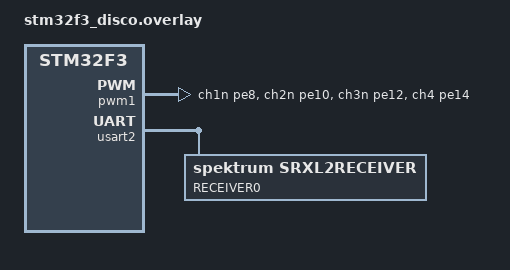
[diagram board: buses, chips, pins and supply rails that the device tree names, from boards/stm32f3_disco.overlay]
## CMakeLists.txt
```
# Find Zephyr. This also loads Zephyr's build system.
cmake_minimum_required(VERSION 3.20)

find_package(Zephyr REQUIRED HINTS $ENV{ZEPHYR_BASE})

project(attitude_estimation)


target_sources(app PRIVATE 
    src/main.cpp
    src/zephly_sensors.c
    src/zephly_sensors_config.c
)

# disable exceptions
# to mitigate problems with static variable initialization guards
# call __cxa_guard_acquire and __cxa_guard_release
# see https://github.com/bblanchon/ArduinoJson/issues/356
# not thread safe anymore :(
target_compile_options(app BEFORE PUBLIC $<$<COMPILE_LANGUAGE:CXX>:-fno-threadsafe-statics>)

set_property(TARGET app PROPERTY CXX_STANDARD 17)
```

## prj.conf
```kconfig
CONFIG_ZEPHLY_APP=y

CONFIG_SERIAL=y
CONFIG_UART_INTERRUPT_DRIVEN=y

CONFIG_SENSOR=y

CONFIG_SPI=y
CONFIG_MPU6000_DRIVER=y
CONFIG_MPU6000_AFS_SEL=1
CONFIG_MPU6000_FS_SEL=0

CONFIG_ZEPHLY_RC_COMMON=y
CONFIG_ZEPHLY_SRXL2_RC_DRIVER=y

CONFIG_ZEPHLY_MIXER_LIB=y
CONFIG_ZEPHLY_CONTROL_LIB=y

CONFIG_LIB_CPLUSPLUS=y
CONFIG_NEWLIB_LIBC=y
CONFIG_NEWLIB_LIBC_FLOAT_PRINTF=y

CONFIG_PWM=y
CONFIG_CONTROL_OUTPUT_PWM=y
CONFIG_CONTROL_OUTPUT_PWM_MIN_DUTY=823

CONFIG_SHELL=y
```

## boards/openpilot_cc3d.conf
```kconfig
CONFIG_ZEPHLY_GYRO_ORIENTATION=1
```

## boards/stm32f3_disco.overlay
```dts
/ {
    aliases {
        rc-uart = &usart2;
    };
};

&pwm1 {
    pinctrl-0 = <&tim1_ch1n_pe8 &tim1_ch2n_pe10 &tim1_ch3n_pe12 &tim1_ch4_pe14>;
};

&usart2 {
    single-wire;
	rc: srxl2 {
		compatible = "spektrum,srxl2receiver";
		label = "RECEIVER0";
		status = "okay";
	};
};
```

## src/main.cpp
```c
/*
 * Copyright (c) 2022 Jonathan Hahn
 *
 * SPDX-License-Identifier: Apache-2.0
 */

#include <zephyr.h>
#include "kernel.h"
#include <device.h>
#include <devicetree.h>
#include <drivers/sensor.h>
#include <custom_drivers/rc.h>
#include <custom_drivers/control_output.h>
#include <mixer/mixer.hpp>
#include <ratecontrol.h>
#include <stdio.h>

#include "zephly_sensors.h"

#define RC_IN DT_NODELABEL(rc)
#define CONTROL_OUTPUT_NODE DT_NODELABEL(pwmout)

const struct device *rc = DEVICE_DT_GET(RC_IN);
const struct device *control_out = DEVICE_DT_GET(CONTROL_OUTPUT_NODE);

/* initial pwm values */
static float outputs[] = {0.0f, 0.0f, 0.0f, 0.0f};

/* storage for rc inputs */
static struct Command rc_val = {};

static float measurements[3];

static struct RateControl ratecontrols[3];

static void configure_ratecontrol(struct RateControl *ratecontrols);
inline struct Command calculate_setpoint(const struct Command &rc_cmd);
inline struct Command run_ratecontrol(struct RateControl *ratecontrol, const struct Command &setpoints, const float *measruements);

int main() {

	printk("Starting initialization.\n");

	ratecontrol_init(&ratecontrols[0], "pitch");
	ratecontrol_init(&ratecontrols[1], "roll");
	ratecontrol_init(&ratecontrols[2], "yaw");

	configure_ratecontrol(ratecontrols);

	if (!device_is_ready(rc)) {
		printk("RC IN device not ready.");
		return -EIO;
	}

	if (!device_is_ready(control_out)) {
		printk("Control Output not ready.");
		return -EIO;
	}

	/*int ret = zephly_sensors_init();
	if (ret != 0) {
		printk("Sensor initialization failed, error code: %d.", ret);
		return ret;
	}*/

	printk("Initialization complete.\nRunning!\n");

	while (true) {
		/* update rc */
		rc_update(rc, &rc_val);

		/* get new sensor measurements */
		//zephly_sensors_get_gyro(measurements);

		/* get setpoint from rc_val */
		const auto setpoint = calculate_setpoint(rc_val);
		//const auto commands = run_ratecontrol(ratecontrols, setpoint, measurements);

		printk("%d\n", (int)(setpoint.thrust * 1000));
		
		/* run mixer */
		px_airmode_mix(setpoint, outputs);

		/* TODO: add anti wind-up measures */
		
		/* write outputs */
		if(rc_val.armed) {
			control_output_set(control_out, outputs);
		} else {
			control_output_disable_motors(control_out);
		}

		k_sleep(K_MSEC(10));
	}

	return 0;
}

static void configure_ratecontrol(struct RateControl *ratecontrols) {
	for (int i=0; i<3; i++) {
		ratecontrols[i].k_p = 1.0f;
		ratecontrols[i].k_i = 0.0f;
		ratecontrols[i].k_d = 0.0f;
	}
}

inline struct Command calculate_setpoint(const struct Command &rc_cmd) {
	static constexpr float MAX_RATE = 1.0f;

	struct Command setpoint;
	setpoint.pitch  = rc_cmd.pitch * MAX_RATE;
	setpoint.roll 	= rc_cmd.roll * MAX_RATE;
	setpoint.yaw	= rc_cmd.yaw * MAX_RATE;
	setpoint.thrust	= rc_cmd.thrust;

	return setpoint;
}

inline struct Command run_ratecontrol(struct RateControl *ratecontrols, const struct Command &setpoints, const float *measruements) {
	struct Command cmd;
	cmd.pitch 	= ratecontrol_update(&ratecontrols[0], setpoints.pitch, measurements[0]);
	cmd.roll	= ratecontrol_update(&ratecontrols[1], setpoints.roll, measurements[1]);
	cmd.yaw 	= ratecontrol_update(&ratecontrols[2], setpoints.yaw, measurements[2]);
	cmd.thrust	= setpoints.thrust;

	return cmd;
}
```

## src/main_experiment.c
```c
#include <zephyr.h>
#include "kernel.h"
#include <device.h>
#include <stdio.h>
#include <devicetree.h>
#include <drivers/pwm.h>
#include <drivers/gpio.h>
#include <drivers/spi.h>

#define PWM_DEVICE1 DT_NODELABEL(pwm1)
#define PWM_DEVICE2 DT_NODELABEL(pwm2)

#define LED_NODE DT_ALIAS(userled0)
#define LED_GPIO DT_PHANDLE(LED_NODE, gpios)
#define LED_PIN	DT_GPIO_PIN(LED_NODE, gpios)

#define SPI1 DT_NODELABEL(spi1)
#define CS_GPIO DT_NODELABEL(gpioa)

const struct device* led = DEVICE_DT_GET(LED_GPIO);

const struct device* pwm_dev1 = DEVICE_DT_GET(PWM_DEVICE1);
const struct device* pwm_dev2 = DEVICE_DT_GET(PWM_DEVICE2);

const struct device * spi1 = DEVICE_DT_GET(SPI1);

const struct spi_cs_control cs_ctrl = 
{
	.gpio_dev = DEVICE_DT_GET(CS_GPIO),
	.delay = 0,
	.gpio_pin = 4,
	.gpio_dt_flags = GPIO_ACTIVE_LOW
};
const struct spi_config spi1_config = {
	.frequency = 562500,
	.operation =SPI_OP_MODE_MASTER | SPI_WORD_SET(8) | SPI_TRANSFER_MSB,
	.cs = &cs_ctrl,
};

int read_wai() {
	int err;
	uint8_t tx_bytes = 0x75;
	uint8_t data;
	const struct spi_buf tx_buf = {
		.buf = &tx_bytes,
		.len = 1,
	};
	const struct spi_buf_set tx = {
		.buffers = &tx_buf,
		.count = 1,
	};

	const struct spi_buf rx_bufs[] = {
		{
			.buf = NULL,
			.len = 1,
		},
		{
			.buf = &data,
			.len = 1,
		}
	};
	const struct spi_buf_set rx = {
		.buffers = rx_bufs,
		.count = 2,
	};

	err = spi_transceive(spi1, &spi1_config, &tx, &rx);

	if ( err < 0 ) {
		return err;
	} else {
		return data;
	}
}

void main() {
	
	int ret, wai;
	bool led_is_on = true;

	if (!device_is_ready(led)) {
		printk("LED is not ready!");
		return;
	}

	if (!device_is_ready(spi1)) {
		printk("spi1 is not ready!");
		return;
	}

	ret = read_wai();

	if (ret < 0) {
		printk("wai invalid!");
		return;
	} else {
		wai = ret;
		printk("wai is %d", wai);
	}


	ret = gpio_pin_configure(led, LED_PIN, GPIO_OUTPUT_ACTIVE | GPIO_ACTIVE_HIGH);
	if (ret < 0) {
		return;
	}

	if (!device_is_ready(pwm_dev1) || !device_is_ready(pwm_dev2)) {
		printk("PWM is not ready!");
		return;
	}

	while (true) {
		printk("Hallo %d %d \t", ret, LED_PIN);
		ret = gpio_pin_set(led, LED_PIN, (int)led_is_on );
		led_is_on = !led_is_on;
		
		if (led_is_on) {
			ret = pwm_pin_set_usec(pwm_dev1, 4, 20000, 2000, 0);
			pwm_pin_set_usec(pwm_dev1, 3, 20000, 2000, 0);
			pwm_pin_set_usec(pwm_dev1, 2, 20000, 2000, 0);
			pwm_pin_set_usec(pwm_dev2, 1, 20000, 2000, 0);
		} else {
			ret = pwm_pin_set_usec(pwm_dev1, 4, 20000, 1000, 0);
			pwm_pin_set_usec(pwm_dev1, 3, 20000, 1000, 0);
			pwm_pin_set_usec(pwm_dev1, 2, 20000, 1000, 0);
			pwm_pin_set_usec(pwm_dev2, 1, 20000, 1000, 0);
		}
		printk("%d\n", ret);

		k_sleep(K_MSEC(1500));
	}
}
```

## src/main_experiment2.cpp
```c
#include <zephyr.h>
#include "irq.h"
#include "kernel.h"
#include <device.h>
#include <stdio.h>
#include <devicetree.h>
#include <drivers/pwm.h>
#include <drivers/gpio.h>
#include <drivers/uart.h>
#include <irq.h>

#include "rc/rc.hpp"

struct RCInput rc_input;

void main() {

    if (rc_init() < 0){
        printk("USART is not ready!");
        return;
    }

    while (true) {
        int ret = rc_update(5);
        rc_input = rc_get();
        
        printk("%d\t%d\t%d\t%d\n", rc_input.roll, rc_input.pitch, rc_input.throttle, rc_input.yaw);
        if(ret<0) {
            printk("ERROR %d\n", ret);
        }
        k_sleep(K_MSEC(5));
    }
}
```

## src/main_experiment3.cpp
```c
#include <zephyr.h>
#include "irq.h"
#include "kernel.h"
#include <device.h>
#include <stdio.h>
#include <devicetree.h>

void test_work_handler(k_work *work) {
    printk("Test so und so\n");
}

K_WORK_DEFINE(test_work, test_work_handler);

void test_timer_handler(k_timer *dummy) {
    k_work_submit(&test_work);
}

K_TIMER_DEFINE(test_timer, test_timer_handler, NULL);

void main() {

    k_timer_start(&test_timer, K_MSEC(5), K_MSEC(5));

    while (true) {
        
        printk("noch da!\n");

        k_sleep(K_MSEC(1000));
    }
}
```

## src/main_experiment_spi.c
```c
#include <zephyr.h>
#include "irq.h"
#include "kernel.h"
#include "sys/util.h"
#include <device.h>
#include <stdio.h>
#include <devicetree.h>
#include <drivers/spi.h>

#define WHO_AM_I_REG 0x75

#define LED_NODE DT_ALIAS(userled0)
#define LED_GPIO DT_PHANDLE(LED_NODE, gpios)
#define PIN	DT_GPIO_PIN(LED_NODE, gpios)

#define SPI1 DT_NODELABEL(spi1)
#define SPI1_CS DT_NODELABEL(gpioa)
#define MPU6000 DT_NODELABEL(imu)
#define SPI1_CS_PIN 4

const struct device *led = DEVICE_DT_GET(LED_GPIO);
//const struct device *spi1 = DEVICE_DT_GET(DT_BUS(MPU6000));

//struct spi_config spi_cfg = SPI_CONFIG_DT(MPU6000, SPI_OP_MODE_MASTER | SPI_WORD_SET(8), 0);

//int request_wai(const struct device* spi1);

const struct device *imu = DEVICE_DT_GET(MPU6000);

void main() {

    bool led_is_on = true;

    if (!device_is_ready(led)) {
        printk("LED is not ready!");
        return;
    }

    int ret = gpio_pin_configure(led, 3, GPIO_OUTPUT_HIGH | GPIO_ACTIVE_HIGH);
    if (ret < 0) {
        return;
    }

    if (!device_is_ready(imu)) {
        printk("MPU6000 is not ready!");
        return;
    }

    while (true) {
        printk("Noch da :)\n");

        ret = gpio_pin_set(led, PIN, (int)led_is_on );
        led_is_on = !led_is_on;

        //ret = request_wai(spi1);

        if (ret != 0) {
            printk("Probleme probleme probleme.. (%d)\n", ret);
            ret = 0;
        }
        
        k_sleep(K_MSEC(1000));
    }
}

/*int request_wai(const struct device* spi1) {

    uint8_t buffer_tx[] = {0xF5, 0x00};
    uint8_t buffer_rx[2] = {};

    struct spi_buf tx_bufs;
    tx_bufs.buf = buffer_tx;
    tx_bufs.len = 2;
    const struct spi_buf_set tx = {
		.buffers = &tx_bufs,
		.count = 1
	};

    struct spi_buf rx_bufs;
    rx_bufs.buf = buffer_rx;
    rx_bufs.len = 2;
    const struct spi_buf_set rx = {
        .buffers = &rx_bufs,
        .count = 1
    };

    int ret = spi_transceive(spi1, &spi_cfg, &tx, &rx);

    if (ret == 0) {
        printk("WAI: %d\n", buffer_rx[1]);
    }

    return ret;
}
*/
```

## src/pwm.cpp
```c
#include "pwm.hpp"
#include <zephyr.h>
#include <drivers/pwm.h>
#include <devicetree.h>

#define NODE_OKAY(node) DT_NODE_HAS_STATUS(DT_NODELABEL(node), okay)
#define GET_PWM(node) DEVICE_DT_GET(DT_NODELABEL(node))
#define GET_PWM_NUM_PINS(node) 0

PWM::PWM() {
    _pwm_devs[0] = GET_PWM(pwm1);
    _pwm_devs[1] = GET_PWM(pwm2);
};

bool PWM::is_ready() const {
    return device_is_ready(_pwm_devs[0]) && device_is_ready(_pwm_devs[1]);
}

uint32_t PWM::_get_pulse(float setpoint) const {
    return _min_duty + static_cast<uint32_t>( (_max_duty - _min_duty) * setpoint);
}

void PWM::write(const float (&outputs)[4]) {
    if (!is_ready()) {
        return;
    }

    pwm_pin_set_usec(_pwm_devs[0], 4, _period, _get_pulse(outputs[0]), 0);
    pwm_pin_set_usec(_pwm_devs[0], 3, _period, _get_pulse(outputs[1]), 0);
    pwm_pin_set_usec(_pwm_devs[0], 2, _period, _get_pulse(outputs[2]), 0);
    pwm_pin_set_usec(_pwm_devs[1], 1, _period, _get_pulse(outputs[3]), 0);

#ifdef CONFIG_BOARD_STM32F3_DISCO
    // Put correct configuration into stm32f303 register..
    volatile int * volatile reg = (volatile int*)0x40012C20;
    *reg = 0x1444;
#endif
}

void PWM::stop_motors() {
    static constexpr float zeros[] = {0.0f, 0.0f, 0.0f, 0.0f};

    write(zeros);
}
```

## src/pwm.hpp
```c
#include <device.h>


class PWM {

    static constexpr uint32_t _period = 20000; // 50 Hz update rate
    static constexpr uint32_t _min_duty = 1000; // 1ms minimal duty cycle
    static constexpr uint32_t _max_duty = 2000; // 2ms maximal duty cycle

public:
    PWM(PWM const&)		        = delete;
	void operator=(PWM const&)  = delete;

    static PWM& init() {
        static PWM pwm;

        return pwm;
    }

    bool is_ready() const;

    uint32_t _get_pulse(float setpoint) const;
    
    void write(const float (&outputs)[4]);

    void stop_motors();

    void print();

private:
    PWM();

    const struct device* _pwm_devs[4];
    uint8_t _pwm_num_of_pins[4];

};
```

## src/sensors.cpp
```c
#include "sensors.hpp"
#include <drivers/sensor.h>

using namespace AttitudeEstimation;

#define GYRO_DEV DT_NODELABEL(gyro0)
#define MAG_DEV DT_NODELABEL(mag0)
#define ACC_DEV DT_NODELABEL(acc0)

#define NODE_OKAY(node) (DT_NODE_EXISTS(node) && DT_NODE_HAS_STATUS(DT_NODELABEL(node), okay))

constexpr double SAMPLING_FREQUENCY = 400.0;
constexpr double DEG2RAD = 0.017453292519943295;

static Measurements measurements {};

#if NODE_OKAY(gyro0) && NODE_OKAY(mag0) && NODE_OKAY(acc0)

static Sensors sensors {
    DEVICE_DT_GET_ONE(st_i3g4250d),
    DEVICE_DT_GET_ONE(st_lsm303agr_magn),
    DEVICE_DT_GET_ONE(st_lsm303agr_accel)
};

bool initialize_sensors() {
  /* ensure device is ready */
  if (!device_is_ready(sensors.gyro) || !device_is_ready(sensors.mag) || !device_is_ready(sensors.accel)) {
    return false;
  }

  /* configure sampling frequency of gyro */
  struct sensor_value setting;
  sensor_value_from_double(&setting, SAMPLING_FREQUENCY);

  int rc = sensor_attr_set(sensors.gyro, SENSOR_CHAN_GYRO_XYZ,
                           SENSOR_ATTR_SAMPLING_FREQUENCY, &setting);

  if (rc != 0) {
    return false;
  }

  return true;
}

bool update_measurements() {
  static int64_t last_time = 0;

  int rc;

  struct sensor_value raw_measurements[3];

  for (int i=0; i<3; i++) {
    rc = sensor_sample_fetch(sensors.array[i]);
    if (rc != 0) {
      return false;
    }
  }

  rc = sensor_channel_get(sensors.gyro, SENSOR_CHAN_GYRO_XYZ, raw_measurements);
  if (rc != 0) {
    return false;
  }

  for (int i = 0; i < 3; i++) {
    measurements.rotation_speed.data[i] = sensor_value_to_double(&raw_measurements[i]) * DEG2RAD;
  }

  rc = sensor_channel_get(sensors.mag, SENSOR_CHAN_MAGN_XYZ, raw_measurements);
  if (rc != 0) {
    return false;
  }

  for (int i = 0; i < 3; i++) {
    measurements.mag_field.data[i] = sensor_value_to_double(&raw_measurements[i]);
  }

  rc = sensor_channel_get(sensors.accel, SENSOR_CHAN_ACCEL_XYZ, raw_measurements);
  if (rc != 0) {
    return false;
  }

  for (int i = 0; i < 3; i++) {
    measurements.accelerations.data[i] = sensor_value_to_double(&raw_measurements[i]);
  }

  int64_t now = k_uptime_get();
  if ( last_time != 0 ) {
    measurements.delta_t = (now - last_time) / 1e3;
    last_time = now;
  } else {
    last_time = now;
    return false;
  }

  return true;
}
#else

bool initialize_sensors() {
  return true;
}

bool update_measurements() {
  return true;
}

#endif

const Vector<double, 3>& get_rotation_speed() {
    return measurements.rotation_speed;
}

const Vector<double, 3>& get_mag_field() {
    return measurements.mag_field;
}

const Vector<double, 3>& get_accelerations() {
  return measurements.accelerations;
}

const double& get_delta_t() {
    return measurements.delta_t;
}
```

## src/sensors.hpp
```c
#ifndef SENSORS_HPP
#define SENSORS_HPP

#include <attitude_estimation.hpp>
#include <device.h>
#include <zephyr.h>

union Sensors {
    /* TODO: unnamed struct in union is not covered by c++ standard.. */
    struct {
        const struct device* gyro;
        const struct device* mag;
        const struct device* accel;
    };
    const struct device* array[3];
};

struct Measurements {
    AttitudeEstimation::Vector<double, 3> rotation_speed;
    AttitudeEstimation::Vector<double, 3> mag_field;
    AttitudeEstimation::Vector<double, 3> accelerations;
    double delta_t;
};

bool initialize_sensors();

bool update_measurements();

const AttitudeEstimation::Vector<double, 3>& get_rotation_speed();
const AttitudeEstimation::Vector<double, 3>& get_mag_field();
const AttitudeEstimation::Vector<double, 3>& get_accelerations();
const double& get_delta_t();

#endif /* SENSORS_HPP */
```

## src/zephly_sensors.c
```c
#include <zephyr.h>
#include <device.h>
#include <devicetree.h>
#include <drivers/sensor.h>
#include <string.h>
#include "zephly_sensors.h"

#define MAX_GYRO_RATES_DEFAULT 15.0f

#define IMU_NODE DT_NODELABEL(imu)

#if CONFIG_ZEPHLY_GYRO_ORIENTATION == 0
    /* no roation */
    #define X_SIGN
    #define Y_SIGN
    #define Z_SIGN

    #define IN_X_INDEX 0
    #define IN_Y_INDEX 1
    #define IN_Z_INDEX 2
#elif CONFIG_ZEPHLY_GYRO_ORIENTATION == 1
    /* 180 degrees around roll / x axis */
    #define X_SIGN
    #define Y_SIGN -
    #define Z_SIGN -

    #define IN_X_INDEX 0
    #define IN_Y_INDEX 1
    #define IN_Z_INDEX 2
#else
    #error No gyro orientation defined
#endif

const struct device *imu = DEVICE_DT_GET(IMU_NODE);

static float max_gyro_rates[3] = {
    MAX_GYRO_RATES_DEFAULT,
    MAX_GYRO_RATES_DEFAULT,
    MAX_GYRO_RATES_DEFAULT
};

static void write_processed_measurements(float *measurements, const struct sensor_value *raw_measurements);

int zephly_sensors_init() {
	if (!device_is_ready(imu)) {
		printk("Gyro device not ready!\n");
		return -EIO;
	}

    return 0;
}

void zephly_sensors_set_rate(float new_max_gyro_rates[3]) {
    memcpy(max_gyro_rates, new_max_gyro_rates, sizeof(max_gyro_rates));
}

void zephly_gyro_set_offsets(float offset_x, float offset_y, float offset_z) {
    struct sensor_value val;

    sensor_value_from_double(&val, (double)offset_x);
    sensor_attr_set(imu, SENSOR_CHAN_GYRO_X, SENSOR_ATTR_OFFSET, &val);
    sensor_value_from_double(&val, (double)offset_y);
    sensor_attr_set(imu, SENSOR_CHAN_GYRO_X, SENSOR_ATTR_OFFSET, &val);
    sensor_value_from_double(&val, (double)offset_y);
    sensor_attr_set(imu, SENSOR_CHAN_GYRO_X, SENSOR_ATTR_OFFSET, &val);
}

int zephly_sensors_get_gyro(float measurements[3]) {
    int ret = 0;
    struct sensor_value raw_measurements[3];

    ret = sensor_sample_fetch(imu);

    if (ret != 0) {
        return ret;
    }

    ret = sensor_channel_get(imu, SENSOR_CHAN_GYRO_XYZ, raw_measurements);

    if (ret != 0) {
        return ret;
    }

    write_processed_measurements(measurements, raw_measurements);

    return 0;
}

static void write_processed_measurements(float *measurements, const struct sensor_value *raw_measurements) {
	measurements[ZEPHLY_X_AXIS] = X_SIGN sensor_value_to_double(&raw_measurements[IN_X_INDEX]) / max_gyro_rates[IN_X_INDEX];
	measurements[ZEPHLY_Y_AXIS] = Y_SIGN sensor_value_to_double(&raw_measurements[IN_Y_INDEX]) / max_gyro_rates[IN_Y_INDEX];
    measurements[ZEPHLY_Z_AXIS] = Z_SIGN sensor_value_to_double(&raw_measurements[IN_Z_INDEX]) / max_gyro_rates[IN_Z_INDEX];
}
```

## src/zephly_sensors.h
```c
#ifndef ZEPHLY_QUAD_SENSORS_H
#define ZEPHLY_QUAD_SENSORS_H

#ifdef __cplusplus
extern "C" {
#endif

enum ZEPHLY_SENSOR_AXIS {
    ZEPHLY_X_AXIS = 0,
    ZEPHLY_Y_AXIS = 1,
    ZEPHLY_Z_AXIS = 2
};

int zephly_sensors_init();

void zephly_sensors_set_rate(float max_gyro_rates[3]);

void zephly_gyro_set_offsets(float offset_x, float offset_y, float offset_z);

int zephly_sensors_get_gyro(float measruements[3]);

#ifdef __cplusplus
}
#endif 

#endif /* ZEPHLY_QUAD_SENSORS_H */
```

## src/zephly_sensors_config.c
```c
/*
 * Copyright (c) 2022 Jonathan Hahn
 *
 * SPDX-License-Identifier: Apache-2.0
 */

#include <zephyr.h>
#include <shell/shell.h>

#include <stdio.h>
#include <stdlib.h>

#include "zephly_sensors.h"

#if IS_ENABLED(CONFIG_SHELL)

static int zephly_cmd_set_gyro_offsets(const struct shell *sh, size_t argc, char **argv) {
    const float offset_x = atof(argv[1]);
    const float offset_y = atof(argv[2]);
    const float offset_z = atof(argv[3]);

    printf("set gyro offset to %f %f %f\n", offset_x, offset_y, offset_z);

    zephly_gyro_set_offsets(offset_x, offset_y, offset_z);

    return 0;
}

SHELL_CMD_ARG_REGISTER(set_gyro_offset, NULL, "Modify Gyro Offsets", zephly_cmd_set_gyro_offsets, 4, 0);

#endif /* CONFIG_SHELL */
```
